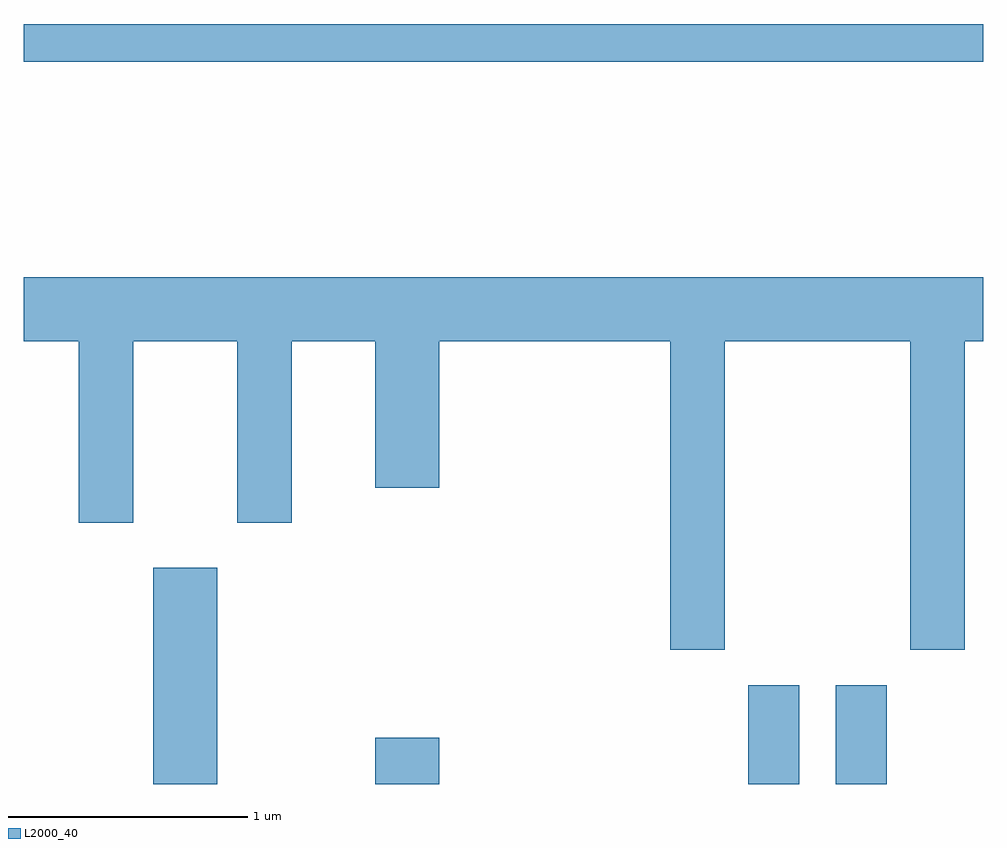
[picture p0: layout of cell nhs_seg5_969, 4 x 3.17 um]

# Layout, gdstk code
import gdstk
lib = gdstk.Library(unit=1e-6, precision=1e-09)
def R(c, l, rs):  # rectangles x0, y0, x1, y1
    for r in rs: c.add(gdstk.rectangle(r[:2], r[2:], *l))
def P(c, l, *ps):  # polygons
    for p in ps: c.add(gdstk.Polygon(p, *l))
L2000_40 = (2000, 40)

nhs_seg5_969 = lib.new_cell('nhs_seg5_969')
R(nhs_seg5_969, L2000_40, [(214.151,1446.072,214.419,1446.974), (215.076,1446.072,215.344,1446.264), (216.631,1446.072,216.844,1446.484), (216.996,1446.072,217.209,1446.484), (213.611,1449.081,217.611,1449.239)])
P(nhs_seg5_969, L2000_40, [(216.534,1447.916),(217.306,1447.916),(217.306,1446.631),(217.534,1446.631),(217.534,1447.916),(217.611,1447.916),(217.611,1448.184),(213.611,1448.184),(213.611,1447.916),(213.841,1447.916),(213.841,1447.161),(214.069,1447.161),(214.069,1447.916),(214.501,1447.916),(214.501,1447.161),(214.729,1447.161),(214.729,1447.916),(215.076,1447.916),(215.076,1447.306),(215.344,1447.306),(215.344,1447.916),(216.306,1447.916),(216.306,1446.631),(216.534,1446.631)])

lib.write_gds('nhs_seg5_969.gds')
